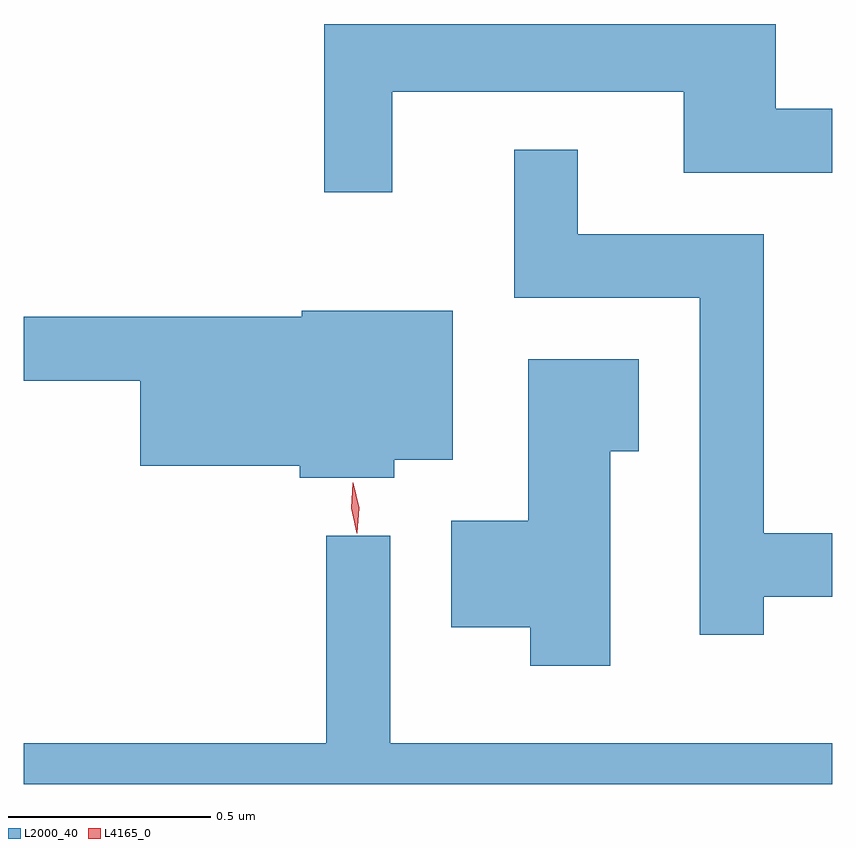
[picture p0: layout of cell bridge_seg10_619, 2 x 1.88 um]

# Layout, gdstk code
import gdstk
lib = gdstk.Library(unit=1e-6, precision=1e-09)
def P(c, l, *ps):  # polygons
    for p in ps: c.add(gdstk.Polygon(p, *l))
L2000_40 = (2000, 40)
L4165_0 = (4165, 0)

bridge_seg10_619 = lib.new_cell('bridge_seg10_619')
P(bridge_seg10_619, L2000_40, [(705.769,2162.416),(706.491,2162.416),(706.491,2162.216),(706.858,2162.216),(706.858,2162.374),(706.719,2162.374),(706.719,2162.584),(705.601,2162.584),(705.601,2162.168),(705.769,2162.168)],
  [(706.689,2161.166),(706.858,2161.166),(706.858,2161.324),(706.689,2161.324),(706.689,2162.064),(706.229,2162.064),(706.229,2162.273),(706.071,2162.273),(706.071,2161.906),(706.531,2161.906),(706.531,2161.073),(706.689,2161.073)],
  [(705.774,2161.506),(705.919,2161.506),(705.919,2161.874),(705.545,2161.874),(705.545,2161.859),(704.858,2161.859),(704.858,2161.701),(705.146,2161.701),(705.146,2161.491),(705.541,2161.491),(705.541,2161.461),(705.774,2161.461)],
  [(706.309,2161.526),(706.379,2161.526),(706.379,2161.754),(706.106,2161.754),(706.106,2161.354),(705.916,2161.354),(705.916,2161.091),(706.111,2161.091),(706.111,2160.996),(706.309,2160.996)],
  [(706.858,2160.804),(705.764,2160.804),(705.764,2161.318),(705.606,2161.318),(705.606,2160.804),(704.858,2160.804),(704.858,2160.703),(706.858,2160.703)])
P(bridge_seg10_619, L4165_0, [(705.683,2161.323),(705.682,2161.324),(705.668,2161.385),(705.672,2161.448),(705.673,2161.448),(705.673,2161.448),(705.688,2161.387),(705.683,2161.324)])

lib.write_gds('bridge_seg10_619.gds')
